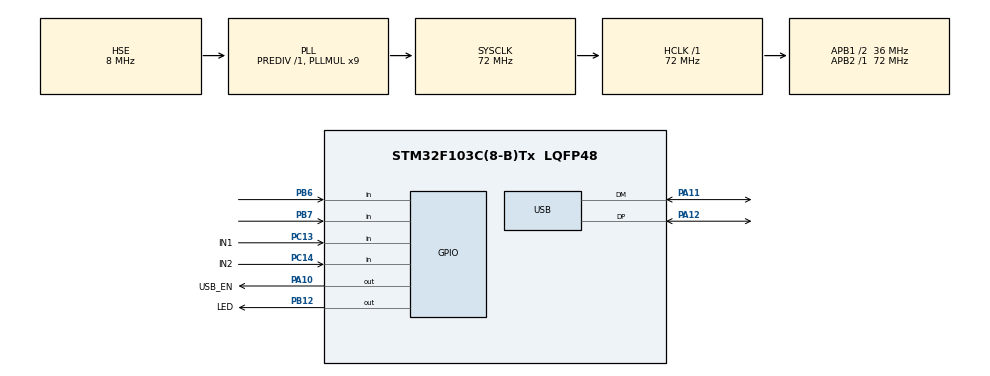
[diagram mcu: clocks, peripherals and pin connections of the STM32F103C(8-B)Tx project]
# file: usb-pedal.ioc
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Mcu.Family=STM32F1
Mcu.Name=STM32F103C(8-B)Tx
Mcu.Package=LQFP48
NVIC.PriorityGroup=NVIC_PRIORITYGROUP_4
NVIC.USB_LP_CAN1_RX0_IRQn=true\:0\:0\:false\:false\:true\:false\:true\:true
PA10.GPIO_Label=USB_EN
PA10.Signal=GPIO_Output
PA11.Mode=Device
PA11.Signal=USB_DM
PA12.Mode=Device
PA12.Signal=USB_DP
PA13.Mode=Serial_Wire
PA13.Signal=SYS_JTMS-SWDIO
PA14.Mode=Serial_Wire
PA14.Signal=SYS_JTCK-SWCLK
PB12.GPIO_Label=LED
PB12.Signal=GPIO_Output
PB6.Signal=GPIO_Input
PB7.Signal=GPIO_Input
PC13-TAMPER-RTC.GPIO_Label=IN1
PC13-TAMPER-RTC.Signal=GPIO_Input
PC14-OSC32_IN.GPIO_Label=IN2
PC14-OSC32_IN.Signal=GPIO_Input
PD0-OSC_IN.Mode=HSE-External-Oscillator
PD0-OSC_IN.Signal=RCC_OSC_IN
PD1-OSC_OUT.Mode=HSE-External-Oscillator
PD1-OSC_OUT.Signal=RCC_OSC_OUT
ProjectManager.HeapSize=0x200
ProjectManager.StackSize=0x400
ProjectManager.TargetToolchain=STM32CubeIDE
RCC.AHBFreq_Value=72000000
RCC.APB1CLKDivider=RCC_HCLK_DIV2
RCC.APB1Freq_Value=36000000
RCC.APB1TimFreq_Value=72000000
RCC.APB2Freq_Value=72000000
RCC.APB2TimFreq_Value=72000000
RCC.HCLKFreq_Value=72000000
RCC.PLLMUL=RCC_PLL_MUL9
RCC.SYSCLKFreq_VALUE=72000000
RCC.SYSCLKSource=RCC_SYSCLKSOURCE_PLLCLK
RCC.USBFreq_Value=48000000
RCC.USBPrescaler=RCC_USBCLKSOURCE_PLL_DIV1_5
USB_DEVICE.CLASS_NAME_FS=HID
USB_DEVICE.VirtualMode=Hid
USB_DEVICE.VirtualModeFS=Hid_FS
VP_USB_DEVICE_VS_USB_DEVICE_HID_FS.Mode=HID_FS
board=custom

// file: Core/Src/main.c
/* USER CODE BEGIN Header */
/**
  ******************************************************************************
  * @file           : main.c
  * @brief          : Main program body
  ******************************************************************************
  * @attention
  *
  * Copyright (c) 2023 STMicroelectronics.
  * All rights reserved.
  *
  * This software is licensed under terms that can be found in the LICENSE file
  * in the root directory of this software component.
  * If no LICENSE file comes with this software, it is provided AS-IS.
  *
  ******************************************************************************
  */
/* USER CODE END Header */
#include "main.h"
#include "usb_device.h"

/* USER CODE BEGIN Includes */
#include "usbd_hid.h"
/* USER CODE END Includes */

/* USER CODE BEGIN PV */

const uint8_t KEY_NONE = 0x00;
const uint8_t KEY_APOSTROPHE = 0x34; // Scancode for ' " key

uint8_t hid_report[8];

extern USBD_HandleTypeDef hUsbDeviceFS;
/* USER CODE END PV */

void SystemClock_Config(void);
static void MX_GPIO_Init(void);
/* USER CODE BEGIN PFP */
void MakeReport(uint8_t* report_buf, uint8_t key)
{
	report_buf[2]= key;
}
/* USER CODE END PFP */

int main(void)
{

  /* MCU Configuration--------------------------------------------------------*/

  /* Reset of all peripherals, Initializes the Flash interface and the Systick. */
  HAL_Init();

  /* Configure the system clock */
  SystemClock_Config();

  /* Initialize all configured peripherals */
  MX_GPIO_Init();
  MX_USB_DEVICE_Init();
  /* USER CODE BEGIN 2 */
  memset(hid_report, 0, sizeof(hid_report));

  HAL_GPIO_WritePin(USB_EN_GPIO_Port, USB_EN_Pin, SET);
  /* USER CODE END 2 */

  /* Infinite loop */
  while (1)
  {

    /* USER CODE BEGIN 3 */
	  if(HAL_GPIO_ReadPin(IN1_GPIO_Port, IN1_Pin))
	  {
		  HAL_GPIO_WritePin(LED_GPIO_Port, LED_Pin, SET);
		  MakeReport(hid_report, KEY_NONE);
	  }
	  else
	  {
		  HAL_GPIO_WritePin(LED_GPIO_Port, LED_Pin, RESET);
		  MakeReport(hid_report, KEY_APOSTROPHE);
	  }

	  USBD_HID_SendReport(&hUsbDeviceFS,  hid_report, sizeof(hid_report));
	  HAL_Delay(5);
  }
  /* USER CODE END 3 */
}

void SystemClock_Config(void)
{
  RCC_OscInitTypeDef RCC_OscInitStruct = {0};
  RCC_ClkInitTypeDef RCC_ClkInitStruct = {0};
  RCC_PeriphCLKInitTypeDef PeriphClkInit = {0};

  /** Initializes the RCC Oscillators according to the specified parameters
  * in the RCC_OscInitTypeDef structure.
  */
  RCC_OscInitStruct.OscillatorType = RCC_OSCILLATORTYPE_HSE;
  RCC_OscInitStruct.HSEState = RCC_HSE_ON;
  RCC_OscInitStruct.HSEPredivValue = RCC_HSE_PREDIV_DIV1;
  RCC_OscInitStruct.HSIState = RCC_HSI_ON;
  RCC_OscInitStruct.PLL.PLLState = RCC_PLL_ON;
  RCC_OscInitStruct.PLL.PLLSource = RCC_PLLSOURCE_HSE;
  RCC_OscInitStruct.PLL.PLLMUL = RCC_PLL_MUL9;
  if (HAL_RCC_OscConfig(&RCC_OscInitStruct) != HAL_OK)
  {
    Error_Handler();
  }

  /** Initializes the CPU, AHB and APB buses clocks
  */
  RCC_ClkInitStruct.ClockType = RCC_CLOCKTYPE_HCLK|RCC_CLOCKTYPE_SYSCLK
                              |RCC_CLOCKTYPE_PCLK1|RCC_CLOCKTYPE_PCLK2;
  RCC_ClkInitStruct.SYSCLKSource = RCC_SYSCLKSOURCE_PLLCLK;
  RCC_ClkInitStruct.AHBCLKDivider = RCC_SYSCLK_DIV1;
  RCC_ClkInitStruct.APB1CLKDivider = RCC_HCLK_DIV2;
  RCC_ClkInitStruct.APB2CLKDivider = RCC_HCLK_DIV1;

  if (HAL_RCC_ClockConfig(&RCC_ClkInitStruct, FLASH_LATENCY_2) != HAL_OK)
  {
    Error_Handler();
  }
  PeriphClkInit.PeriphClockSelection = RCC_PERIPHCLK_USB;
  PeriphClkInit.UsbClockSelection = RCC_USBCLKSOURCE_PLL_DIV1_5;
  if (HAL_RCCEx_PeriphCLKConfig(&PeriphClkInit) != HAL_OK)
  {
    Error_Handler();
  }
}

static void MX_GPIO_Init(void)
{
  GPIO_InitTypeDef GPIO_InitStruct = {0};

  /* GPIO Ports Clock Enable */
  __HAL_RCC_GPIOC_CLK_ENABLE();
  __HAL_RCC_GPIOD_CLK_ENABLE();
  __HAL_RCC_GPIOB_CLK_ENABLE();
  __HAL_RCC_GPIOA_CLK_ENABLE();

  /*Configure GPIO pin Output Level */
  HAL_GPIO_WritePin(LED_GPIO_Port, LED_Pin, GPIO_PIN_RESET);

  /*Configure GPIO pin Output Level */
  HAL_GPIO_WritePin(USB_EN_GPIO_Port, USB_EN_Pin, GPIO_PIN_RESET);

  /*Configure GPIO pins : IN1_Pin IN2_Pin */
  GPIO_InitStruct.Pin = IN1_Pin|IN2_Pin;
  GPIO_InitStruct.Mode = GPIO_MODE_INPUT;
  GPIO_InitStruct.Pull = GPIO_NOPULL;
  HAL_GPIO_Init(GPIOC, &GPIO_InitStruct);

  /*Configure GPIO pin : LED_Pin */
  GPIO_InitStruct.Pin = LED_Pin;
  GPIO_InitStruct.Mode = GPIO_MODE_OUTPUT_PP;
  GPIO_InitStruct.Pull = GPIO_NOPULL;
  GPIO_InitStruct.Speed = GPIO_SPEED_FREQ_LOW;
  HAL_GPIO_Init(LED_GPIO_Port, &GPIO_InitStruct);

  /*Configure GPIO pin : USB_EN_Pin */
  GPIO_InitStruct.Pin = USB_EN_Pin;
  GPIO_InitStruct.Mode = GPIO_MODE_OUTPUT_PP;
  GPIO_InitStruct.Pull = GPIO_NOPULL;
  GPIO_InitStruct.Speed = GPIO_SPEED_FREQ_LOW;
  HAL_GPIO_Init(USB_EN_GPIO_Port, &GPIO_InitStruct);

  /*Configure GPIO pins : PB6 PB7 */
  GPIO_InitStruct.Pin = GPIO_PIN_6|GPIO_PIN_7;
  GPIO_InitStruct.Mode = GPIO_MODE_INPUT;
  GPIO_InitStruct.Pull = GPIO_NOPULL;
  HAL_GPIO_Init(GPIOB, &GPIO_InitStruct);

}

void Error_Handler(void)
{
  __disable_irq();
  while (1)
  {
  }
}
